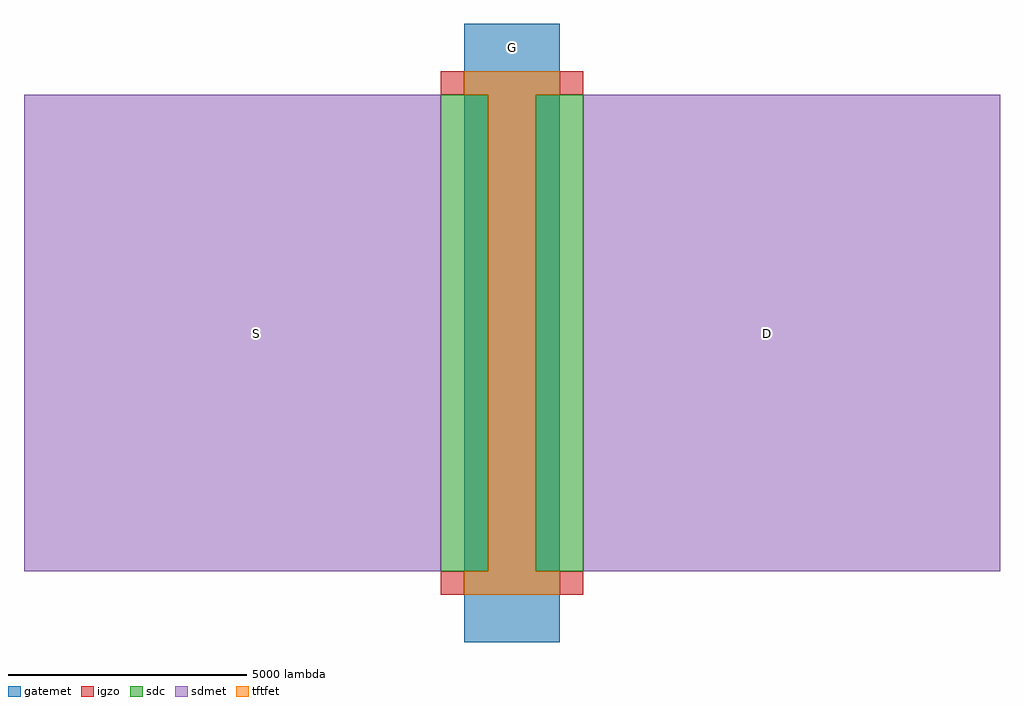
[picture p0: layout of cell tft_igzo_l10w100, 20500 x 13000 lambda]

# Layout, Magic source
magic
tech igzo_mmm_lab
<< igzo >>
rect -1500 5000 -1000 5500
rect 1000 5000 1500 5500
rect -1500 -5500 -1000 -5000
rect 1000 -5500 1500 -5000
<< tftfet >>
rect -1000 5000 1000 5500
rect -500 -5000 500 5000
rect -1000 -5500 1000 -5000
<< sdc >>
rect -1500 -5000 -500 5000
rect 500 -5000 1500 5000
<< sdmet >>
rect -10250 -5000 -1500 5000
rect 1500 -5000 10250 5000
<< gatemet >>
rect -1000 -6500 1000 6500
<< labels >>
rlabel sdmet s -5863 -488 -4887 488 4 S
port 3 nsew
rlabel sdmet s 4887 -488 5863 488 4 D
port 5 nsew
rlabel gatemet s -488 5512 488 6488 4 G
port 7 nsew
<< end >>
